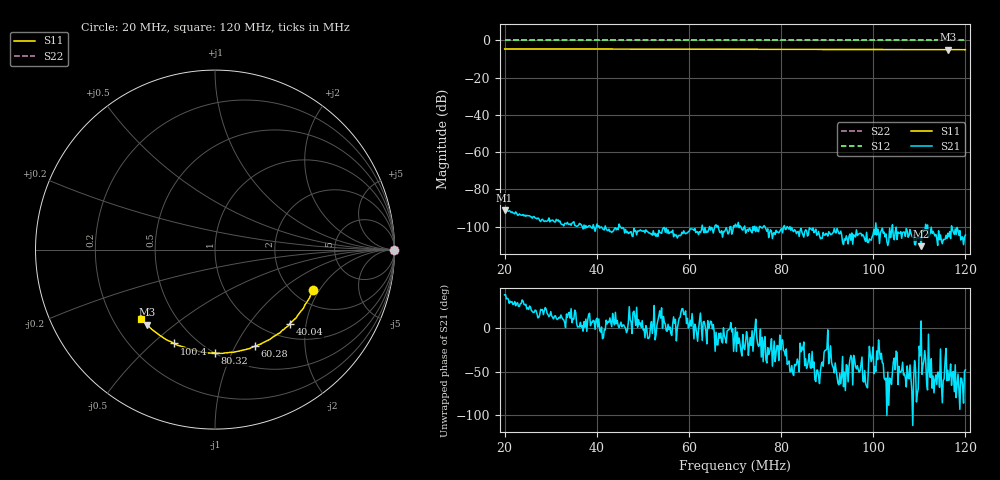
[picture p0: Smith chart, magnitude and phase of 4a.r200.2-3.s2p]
! Anritsu VNA Master:  Model: MS2036C/10/77
! SN:  1601066
! /bd0/18may26.balun/4a.r200.2.s2p
! Existing Calibration Information:
! TYPE:  Current Settings,  Active Cal Settings
! TIME:  05/26/2018 03:26:44 PM,  05/26/2018 02:51:55 PM
! INTERNAL TEMP:  59.8 C,  59.5 C
! # POINTS:  500,  500
! START FREQ:  20.000 MHz,  20.000 MHz
! STOP FREQ:  120.000 MHz,  120.000 MHz
! SOURCE POWER:  High,  High
! IFBW:  50 Hz,  50 Hz
! AVG FACTOR:  1 ,  1
! REF PLANE 1:  0 mm,  0 mm
! REF PLANE 2:  0 mm,  0 mm
! CAL TYPE:  Full S11,  Full S11
! CAL METHOD:  SOLT,  SOLT
! CAL LINE TYPE:  Coax,  Coax
! DUT PORT 1:  K-Conn(M),  K-Conn(M)
! DUT PORT 2:  K-Conn(M),  K-Conn(M)
! CAL STATUS:  OK: Accuracy High,  --
# GHZ S DB R 50.0
! FREQ.GHZ  S11DB  S11A  S21DB  S21A  S12DB  S12A  S22DB  S22A
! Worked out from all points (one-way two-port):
!   500 points, 20 MHz to 120 MHz, reference 50 ohm
!   highest |S21| = -91.26 dB at 20 MHz (marker M1); lowest = -110.5 dB at 110.4 MHz (marker M2)
!   lowest |S11| = -5.0 dB at 116.2 MHz (marker M3), VSWR 3.59, Z = 16.4 - j20.2 ohm
!   |S11| at or under -10 dB: nowhere
!   |S22| runs from 0.0 to 0.0 dB; largest |S21 - S12| = 1
!   S11 on the Smith chart (normalised r, x): 20 MHz: 2.55, -1.75; 40.04 MHz: 1.28, -1.62; 60.28 MHz: 0.74, -1.21; 80.32 MHz: 0.50, -0.86; 100.4 MHz: 0.38, -0.59; 120 MHz: 0.32, -0.36
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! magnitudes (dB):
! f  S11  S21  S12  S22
! 20 MHz  -4.6  -91.3  0.0  0.0
! 28.22 MHz  -4.6  -96.0  0.0  0.0
! 30.22 MHz  -4.6  -96.7  0.0  0.0
! 36.83 MHz  -4.6  -99.9  0.0  0.0
! 40.04 MHz  -4.6  -98.6  0.0  0.0
! 41.24 MHz  -4.6  -101.0  0.0  0.0
! 45.05 MHz  -4.6  -99.9  0.0  0.0
! 46.45 MHz  -4.6  -103.1  0.0  0.0
! 50.26 MHz  -4.7  -102.1  0.0  0.0
! 53.47 MHz  -4.7  -101.9  0.0  0.0
! 60.28 MHz  -4.7  -101.2  0.0  0.0
! 70.1 MHz  -4.7  -98.7  0.0  0.0
! 76.91 MHz  -4.7  -102.5  0.0  0.0
! 80.32 MHz  -4.8  -103.3  0.0  0.0
! 86.73 MHz  -4.8  -101.9  0.0  0.0
! 95.15 MHz  -4.9  -107.3  0.0  0.0
! 98.36 MHz  -4.8  -108.0  0.0  0.0
! 100.4 MHz  -4.9  -104.3  0.0  0.0
! 103.4 MHz  -4.9  -107.9  0.0  0.0
! 110.4 MHz  -4.9  -110.5  0.0  0.0
! 116.2 MHz  -5.0  -103.5  0.0  0.0
! 120 MHz  -5.0  -104.5  0.0  0.0
